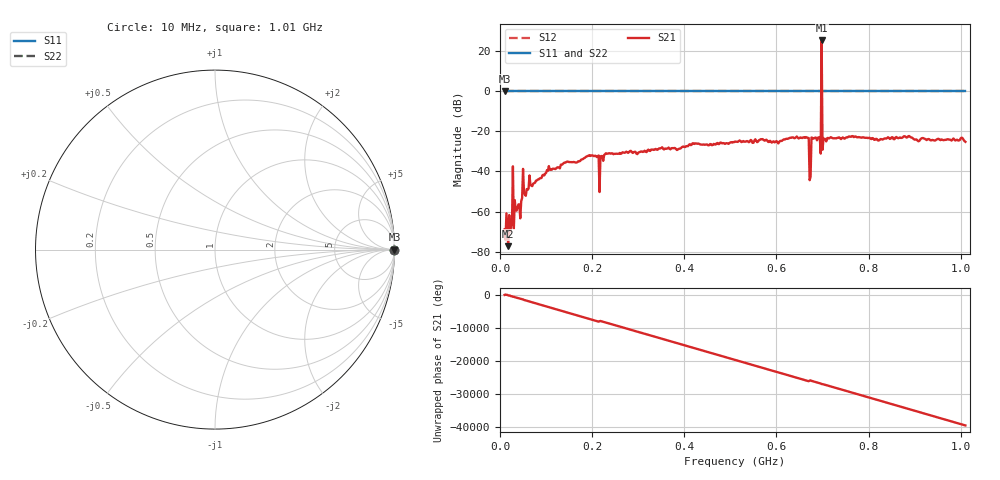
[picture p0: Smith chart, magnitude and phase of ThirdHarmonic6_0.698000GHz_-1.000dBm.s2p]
! 8/15/2025 11:19:37 PM
! C:\ANRITSUVNA\TEMP\TEMP.S2P
! CHANNEL.1
! TR.MEASUREMENT
! RAW.DATA
! RF.CORRECTION.OFF
! AVERAGING.OFF
! IF.BANDWIDTH: 5KHZ
! SWEEPTYPE:  FREQ.SWEEP(Linear)
! Reference Plane Port Info
! PORT:  PORT1  PORT2
! DISTANCE:  0  m  0  m
! TIME:  0  s  0  s
! PHASE.OFFSET:  0  deg.  0  deg.
! LOSS:  0  dB  0  dB
! REF.LOSS:  0  dB  0  dB
! REF.FREQ:  0  Hz  0  Hz
! Power Info
! POWER:  -20  dBm  -20  dBm
! EFF.POWER:  -20  dBm  -20  dBm
! SOURCE.ATTEN:  0  dB  0  dB
! TEST.ATTEN:  0  dB  0  dB
# GHZ S RI R 50.0
! FREQ.GHZ  S11RE  S11IM  S21RE  S21IM  S12RE  S12IM  S22RE  S22IM
!; PortSelection: Port_12
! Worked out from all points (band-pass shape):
!   501 points, 10 MHz to 1.01 GHz, reference 50 ohm
!   highest |S21| = 25.23 dB at 698 MHz (marker M1); lowest = -77.3 dB at 18 MHz (marker M2)
!   |S21| within 3 dB of the highest: 697.8935 MHz to 698.1102 MHz (216.7 kHz wide, 0.031 % of centre)
!   lowest |S11| = 0.0 dB at 10 MHz (marker M3)
!   |S11| at or under -10 dB: nowhere
!   |S22| runs from 0.0 to 0.0 dB; largest |S21 - S12| = 17
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0.01  1 0  0.000289 -0.000213  1 0  1 0
0.018  1 0  -0.000135 2.19e-05  1 0  1 0
0.022  1 0  -4.85e-05 0.000315  1 0  1 0
0.024  1 0  0.00016 -0.000444  1 0  1 0
0.032  1 0  0.00193 2.83e-05  1 0  1 0
0.04  1 0  0.00101 0.00111  1 0  1 0
0.054  1 0  -0.00266 2.22e-05  1 0  1 0
0.178  1 0  -0.0198 -0.00191  1 0  1 0
0.22  1 0  0.00539 -0.0233  1 0  1 0
0.232  1 0  -0.0255 0.0108  1 0  1 0
0.344  1 0  0.032 -0.0174  1 0  1 0
0.51  1 0  -0.0308 0.046  1 0  1 0
0.664  1 0  0.0608 0.0378  1 0  1 0
0.67  1 0  -0.0592 0.0335  1 0  1 0
0.678  1 0  -0.0684 -0.00539  1 0  1 0
0.692  1 0  0.0662 -0.0236  1 0  1 0
0.694  1 0  -0.0147 -0.0703  1 0  1 0
0.698  1 0  16.27 8.262  1 0  1 0
0.702  1 0  0.0225 -0.0617  1 0  1 0
0.704  1 0  -0.0554 -0.0337  1 0  1 0
0.844  1 0  0.0551 -0.0408  1 0  1 0
1.01  1 0  -0.0111 0.0534  1 0  1 0
